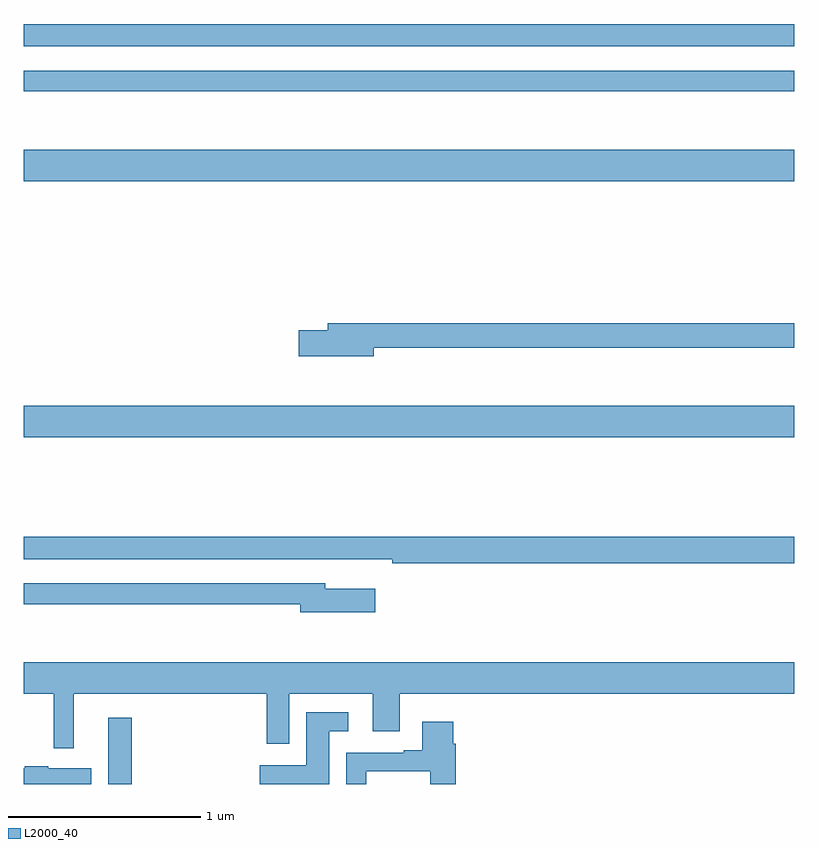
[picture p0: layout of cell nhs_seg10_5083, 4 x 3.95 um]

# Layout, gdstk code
import gdstk
lib = gdstk.Library(unit=1e-6, precision=1e-09)
def R(c, l, rs):  # rectangles x0, y0, x1, y1
    for r in rs: c.add(gdstk.rectangle(r[:2], r[2:], *l))
def P(c, l, *ps):  # polygons
    for p in ps: c.add(gdstk.Polygon(p, *l))
L2000_40 = (2000, 40)

nhs_seg10_5083 = lib.new_cell('nhs_seg10_5083')
R(nhs_seg10_5083, L2000_40, [(405.437,1314.5,405.559,1314.844), (405,1316.3,409,1316.464), (405,1317.632,409,1317.796), (405,1318.098,409,1318.206), (405,1318.332,409,1318.448)])
P(nhs_seg10_5083, L2000_40, [(406.816,1316.766),(409,1316.766),(409,1316.894),(406.577,1316.894),(406.577,1316.858),(406.428,1316.858),(406.428,1316.723),(406.816,1316.723)],
  [(409,1315.784),(405,1315.784),(405,1315.668),(406.66,1315.668),(406.66,1315.667),(406.912,1315.667),(406.912,1315.648),(409,1315.648)],
  [(406.825,1315.513),(406.564,1315.513),(406.564,1315.542),(405,1315.542),(405,1315.434),(406.436,1315.434),(406.436,1315.391),(406.825,1315.391)],
  [(405.259,1314.968),(406.261,1314.968),(406.261,1314.708),(406.377,1314.708),(406.377,1314.968),(406.811,1314.968),(406.811,1314.774),(406.951,1314.774),(406.951,1314.968),(409,1314.968),(409,1315.132),(405,1315.132),(405,1314.968),(405.155,1314.968),(405.155,1314.687),(405.259,1314.687)],
  [(406.585,1314.773),(406.684,1314.773),(406.684,1314.874),(406.466,1314.874),(406.466,1314.598),(406.224,1314.598),(406.224,1314.5),(406.585,1314.5)],
  [(406.777,1314.567),(407.111,1314.567),(407.111,1314.5),(407.243,1314.5),(407.243,1314.71),(407.23,1314.71),(407.23,1314.823),(407.069,1314.823),(407.069,1314.676),(406.973,1314.676),(406.973,1314.663),(406.673,1314.663),(406.673,1314.5),(406.777,1314.5)],
  [(405.349,1314.583),(405.126,1314.583),(405.126,1314.591),(405.004,1314.591),(405.004,1314.583),(405,1314.583),(405,1314.5),(405.349,1314.5)])

lib.write_gds('nhs_seg10_5083.gds')
